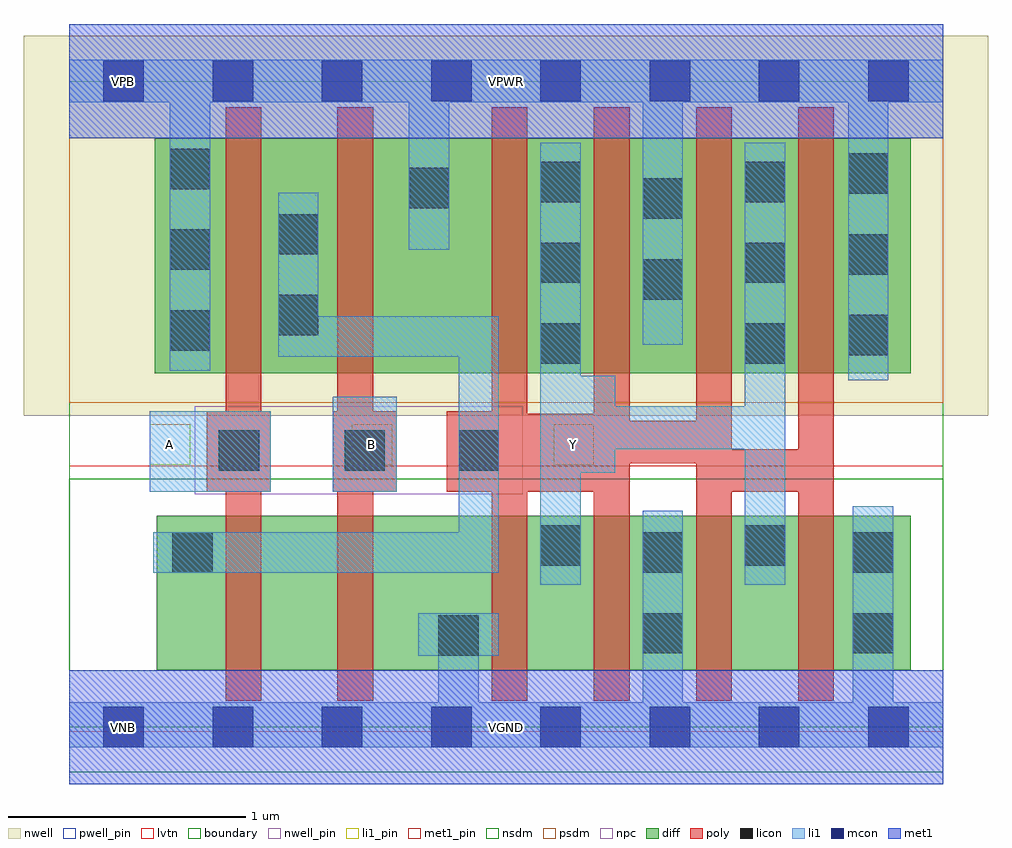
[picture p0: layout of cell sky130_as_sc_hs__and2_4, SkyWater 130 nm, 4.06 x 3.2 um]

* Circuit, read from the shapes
.subckt sky130_as_sc_hs__and2_4 A B VGND VNB VPB VPWR Y
XM1 n1 A n2 VNB sky130_fd_pr__nfet_01v8_lvt w=0.65 l=0.15
XM2 VGND B n1 VNB sky130_fd_pr__nfet_01v8_lvt w=0.65 l=0.15
XM3 Y n2 VGND VNB sky130_fd_pr__nfet_01v8_lvt w=0.65 l=0.15 m=4
XM4 n2 A VPWR VPB sky130_fd_pr__pfet_01v8 w=0.99 l=0.15
XM5 VPWR B n2 VPB sky130_fd_pr__pfet_01v8 w=0.99 l=0.15
XM6 Y n2 VPWR VPB sky130_fd_pr__pfet_01v8 w=0.99 l=0.15 m=4
.ends

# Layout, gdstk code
import gdstk
lib = gdstk.Library(unit=1e-6, precision=1e-09)
def R(c, l, rs):  # rectangles x0, y0, x1, y1
    for r in rs: c.add(gdstk.rectangle(r[:2], r[2:], *l))
def A(c, l, x, y, w, h, nx, ny, dx, dy):  # array of equal rectangles
    R(c, l, [(x+i*dx, y+j*dy, x+i*dx+w, y+j*dy+h) for i in range(nx) for j in range(ny)])
nwell_pin = (64, 16)
nwell = (64, 20)
diff = (65, 20)
poly = (66, 20)
licon = (66, 44)
li1_pin = (67, 16)
li1 = (67, 20)
mcon = (67, 44)
met1_pin = (68, 16)
met1 = (68, 20)
nsdm = (93, 44)
psdm = (94, 20)
npc = (95, 20)
pwell_pin = (122, 16)
lvtn = (125, 44)
boundary = (235, 4)

sky130_as_sc_hs__and2_4 = lib.new_cell('sky130_as_sc_hs__and2_4')
R(sky130_as_sc_hs__and2_4, nwell_pin, [(0.145,2.635,0.315,2.805)])
R(sky130_as_sc_hs__and2_4, nwell, [(-0.19,1.31,3.87,2.91)])
R(sky130_as_sc_hs__and2_4, diff, [(0.37,0.24,3.545,0.89), (0.36,1.49,3.545,2.48)])
A(sky130_as_sc_hs__and2_4, poly, 1.78, 0.11, 0.15, 0.88, 4, 1, 0.43, 0)
R(sky130_as_sc_hs__and2_4, poly, [(0.66,0.11,0.81,0.99), (1.13,0.11,1.28,0.99), (0.58,0.99,0.85,1.33), (1.11,0.99,1.38,1.33), (1.59,0.99,2.36,1.11), (2.64,0.99,3.22,1.11), (1.59,1.11,3.22,1.17), (1.59,1.17,2.79,1.29), (3.07,1.17,3.22,2.61), (1.59,1.29,2.36,1.32), (2.64,1.29,2.79,2.61), (1.59,1.32,1.93,1.33), (2.21,1.32,2.36,2.61), (0.66,1.33,0.81,2.61), (1.13,1.33,1.28,2.61), (1.78,1.33,1.93,2.61)])
A(sky130_as_sc_hs__and2_4, licon, 1.985, 1.53, 0.17, 0.17, 1, 3, 0, 0.34)
A(sky130_as_sc_hs__and2_4, licon, 2.845, 1.53, 0.17, 0.17, 1, 3, 0, 0.34)
A(sky130_as_sc_hs__and2_4, licon, 3.28, 1.565, 0.17, 0.17, 1, 3, 0, 0.34)
A(sky130_as_sc_hs__and2_4, licon, 0.425, 1.585, 0.17, 0.17, 1, 3, 0, 0.34)
R(sky130_as_sc_hs__and2_4, licon, [(1.555,0.3,1.725,0.47), (2.415,0.31,2.585,0.48), (3.3,0.31,3.47,0.48), (0.435,0.65,0.605,0.82), (2.415,0.65,2.585,0.82), (3.3,0.65,3.47,0.82), (1.985,0.68,2.155,0.85), (2.845,0.68,3.015,0.85), (0.63,1.08,0.8,1.25), (1.16,1.08,1.33,1.25), (1.64,1.08,1.81,1.25), (0.88,1.65,1.05,1.82), (2.415,1.8,2.585,1.97), (0.88,1.99,1.05,2.16), (2.415,2.14,2.585,2.31), (1.43,2.185,1.6,2.355)])
A(sky130_as_sc_hs__and2_4, li1_pin, 0.34, 1.105, 0.17, 0.17, 3, 1, 0.85, 0)
R(sky130_as_sc_hs__and2_4, li1, [(0,-0.085,3.68,0.105), (1.555,0.105,1.725,0.3), (2.415,0.105,2.585,0.91), (3.3,0.105,3.47,0.93), (1.47,0.3,1.81,0.48), (1.985,0.6,2.155,1.07), (2.845,0.6,3.015,1.17), (0.355,0.65,1.81,0.82), (1.64,0.82,1.81,1.56), (0.34,0.99,0.85,1.33), (1.11,0.99,1.38,1.39), (1.985,1.07,2.3,1.17), (1.985,1.17,3.015,1.35), (1.985,1.35,2.3,1.48), (2.845,1.35,3.015,2.46), (3.28,1.46,3.45,2.63), (1.985,1.48,2.155,2.46), (0.425,1.5,0.595,2.63), (0.88,1.56,1.81,1.73), (2.415,1.61,2.585,2.63), (0.88,1.73,1.05,2.25), (1.43,2.01,1.6,2.63), (0,2.63,3.68,2.81)])
A(sky130_as_sc_hs__and2_4, mcon, 0.145, -0.085, 0.17, 0.17, 8, 2, 0.46, 2.72)
R(sky130_as_sc_hs__and2_4, met1_pin, [(0,-0.24,3.68,0.24), (0.145,-0.085,0.315,0.085), (0,2.48,3.68,2.96), (0.145,2.635,0.315,2.805)])
R(sky130_as_sc_hs__and2_4, met1, [(0,-0.24,3.68,0.24), (0,2.48,3.68,2.96)])
R(sky130_as_sc_hs__and2_4, nsdm, [(0,-0.19,3.68,1.045)])
R(sky130_as_sc_hs__and2_4, psdm, [(0,1.365,3.68,2.91)])
R(sky130_as_sc_hs__and2_4, npc, [(0.53,0.98,1.91,1.35)])
R(sky130_as_sc_hs__and2_4, pwell_pin, [(0.145,-0.085,0.315,0.085)])
R(sky130_as_sc_hs__and2_4, lvtn, [(0,-0.02,3.68,1.1)])
R(sky130_as_sc_hs__and2_4, boundary, [(0,0,3.68,2.72)])
sky130_as_sc_hs__and2_4.add(gdstk.Label('VNB', (0.23,0), layer=64, texttype=59))
sky130_as_sc_hs__and2_4.add(gdstk.Label('VPB', (0.23,2.72), layer=64, texttype=5))
sky130_as_sc_hs__and2_4.add(gdstk.Label('A', (0.425,1.19), layer=67, texttype=5))
sky130_as_sc_hs__and2_4.add(gdstk.Label('B', (1.275,1.19), layer=67, texttype=5))
sky130_as_sc_hs__and2_4.add(gdstk.Label('Y', (2.125,1.19), layer=67, texttype=5))
sky130_as_sc_hs__and2_4.add(gdstk.Label('VNB', (0.23,0), layer=64, texttype=59))
sky130_as_sc_hs__and2_4.add(gdstk.Label('VPB', (0.23,2.72), layer=64, texttype=5))
sky130_as_sc_hs__and2_4.add(gdstk.Label('VPWR', (1.84,2.72), layer=68, texttype=5))
sky130_as_sc_hs__and2_4.add(gdstk.Label('VPWR', (0.23,2.72), layer=68, texttype=5))
sky130_as_sc_hs__and2_4.add(gdstk.Label('VGND', (1.84,0), layer=68, texttype=5))
sky130_as_sc_hs__and2_4.add(gdstk.Label('VGND', (0.23,0), layer=68, texttype=5))
sky130_as_sc_hs__and2_4.add(gdstk.Label('A', (0.425,1.19), layer=67, texttype=5))
sky130_as_sc_hs__and2_4.add(gdstk.Label('B', (1.275,1.19), layer=67, texttype=5))
sky130_as_sc_hs__and2_4.add(gdstk.Label('Y', (2.125,1.19), layer=67, texttype=5))

lib.write_gds('sky130_as_sc_hs__and2_4.gds')
